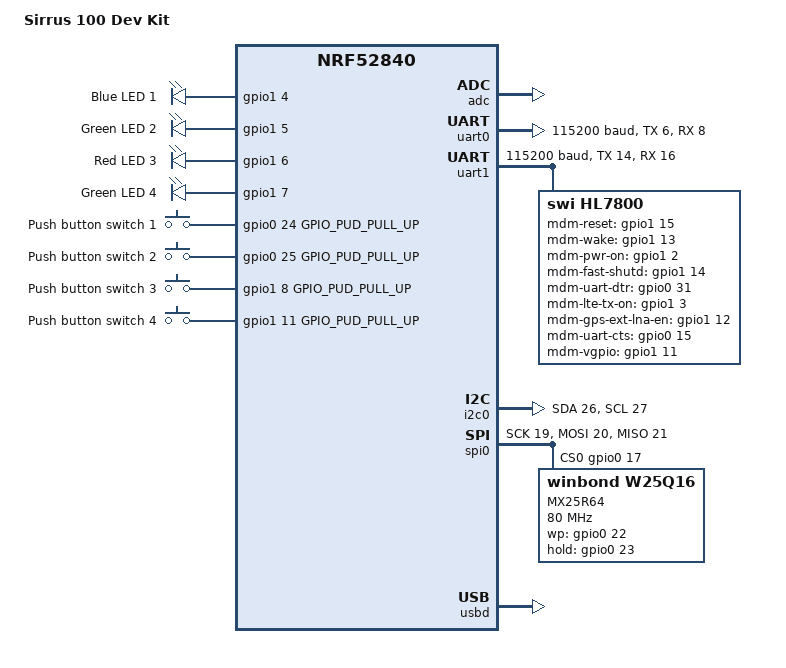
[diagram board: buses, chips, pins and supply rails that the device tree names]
/*
 * Copyright (c) 2019 Laird Connectivity
 *
 * SPDX-License-Identifier: Apache-2.0
 */

/dts-v1/;
#include <nordic/nrf52840_qiaa.dtsi>

/ {
	model = "Sirrus 100 Dev Kit";
	compatible = "laird,sirrus100-dvk", "nordic,nrf52840-qiaa",
		     "nordic,nrf52840";

	chosen {
		zephyr,console = &uart0;
		zephyr,shell-uart = &uart0;
		zephyr,uart-mcumgr = &uart0;
		zephyr,sram = &sram0;
		zephyr,flash = &flash0;
		zephyr,code-partition = &slot0_partition;
	};

	leds {
		compatible = "gpio-leds";
		led1: led_1 {
			gpios = <&gpio1 4 GPIO_INT_ACTIVE_HIGH>;
			label = "Blue LED 1";
		};
		led2: led_2 {
			gpios = <&gpio1 5 GPIO_INT_ACTIVE_HIGH>;
			label = "Green LED 2";
		};
		led3: led_3 {
			gpios = <&gpio1 6 GPIO_INT_ACTIVE_HIGH>;
			label = "Red LED 3";
		};
		led4: led_4 {
			gpios = <&gpio1 7 GPIO_INT_ACTIVE_HIGH>;
			label = "Green LED 4";
		};
	};

	buttons {
		compatible = "gpio-keys";
		button1: button_1 {
			gpios = <&gpio0 24 GPIO_PUD_PULL_UP>;
			label = "Push button switch 1";
		};
		button2: button_2 {
			gpios = <&gpio0 25 GPIO_PUD_PULL_UP>;
			label = "Push button switch 2";
		};
		button3: button_3 {
			gpios = <&gpio1 8 GPIO_PUD_PULL_UP>;
			label = "Push button switch 3";
		};
		button4: button_4 {
			gpios = <&gpio1 11 GPIO_PUD_PULL_UP>;
			label = "Push button switch 4";
		};
	};

	/* These aliases are provided for compatibility with samples */
	aliases {
		led1 = &led1;
		led2 = &led2;
		led3 = &led3;
		led4 = &led4;
		sw1 = &button1;
		sw2 = &button2;
		sw3 = &button3;
		sw4 = &button4;
	};
};

&adc {
	status ="ok";
};

&gpiote {
	status ="ok";
};

&gpio0 {
	status ="ok";
};

&gpio1 {
	status ="ok";
};

&uart0 {
	compatible = "nordic,nrf-uart";
	current-speed = <115200>;
	status = "ok";
	tx-pin = <6>;
	rx-pin = <8>;
	rts-pin = <5>;
	cts-pin = <7>;
};

&uart1 {
	current-speed = <115200>;
	status = "ok";
	tx-pin = <14>;
	rx-pin = <16>;
	rts-pin = <13>;
	cts-pin = <15>;
	hl7800 {
		compatible = "swi,hl7800";
		label = "hl7800";
		mdm-reset-gpios = <&gpio1 15 0>;
		mdm-wake-gpios = <&gpio1 13 0>;
		mdm-pwr-on-gpios = <&gpio1 2 0>;
		mdm-fast-shutd-gpios = <&gpio1 14 0>;
		mdm-uart-dtr-gpios = <&gpio0 31 0>;
		mdm-lte-tx-on-gpios = <&gpio1 3 0>;
		mdm-gps-ext-lna-en-gpios = <&gpio1 12 0>;
		mdm-uart-cts-gpios = <&gpio0 15 0>;
		mdm-vgpio-gpios = <&gpio1 11 0>;  // Set to button 4 GPIO for now because of easy board mod.  Change this later
		status = "ok";
	};    
};

&i2c0 {
	status = "ok";
	sda-pin = <26>;
	scl-pin = <27>;
};

&spi0 {
	status = "ok";
	sck-pin = <19>;
	mosi-pin = <20>;
	miso-pin = <21>;
	cs-gpios = <&gpio0 17 0>;
	mx25r6435f@0 {
		compatible = "winbond,w25q16", "jedec,spi-nor";
		reg = <0>;
		spi-max-frequency = <80000000>;
		label = "MX25R64";
		jedec-id = <0xc2 0x28 0x17>;
		size = <67108864>;
		wp-gpios = <&gpio0 22 0>;
		hold-gpios = <&gpio0 23 0>;
	};
};

&flash0 {
	/*
	 * For more information, see:
	 * http://docs.zephyrproject.org/devices/dts/flash_partitions.html
	 */
	partitions {
		compatible = "fixed-partitions";
		#address-cells = <1>;
		#size-cells = <1>;

		//Bootloader
		boot_partition: partition@f2000 {
			label = "mcuboot";
			reg = <0x000f2000 0x0000C000>;
		};

		//Zephyr application
		slot0_partition: partition@1000 {
			label = "image-0";
			reg = <0x00001000 0x00060000>;
		};

		scratch_partition: partition@b3000 {
			label = "image-scratch";
			reg = <0x000b3000 0x00001000>;

		};

#if defined(CONFIG_FS_FLASH_MAP_STORAGE)
		storage_partition: partition@fc000 {
			label = "storage";
			reg = <0x000fc000 0x00004000>;
		};
#endif
	};
};

&usbd {
	compatible = "nordic,nrf-usbd";
	status = "ok";
};
